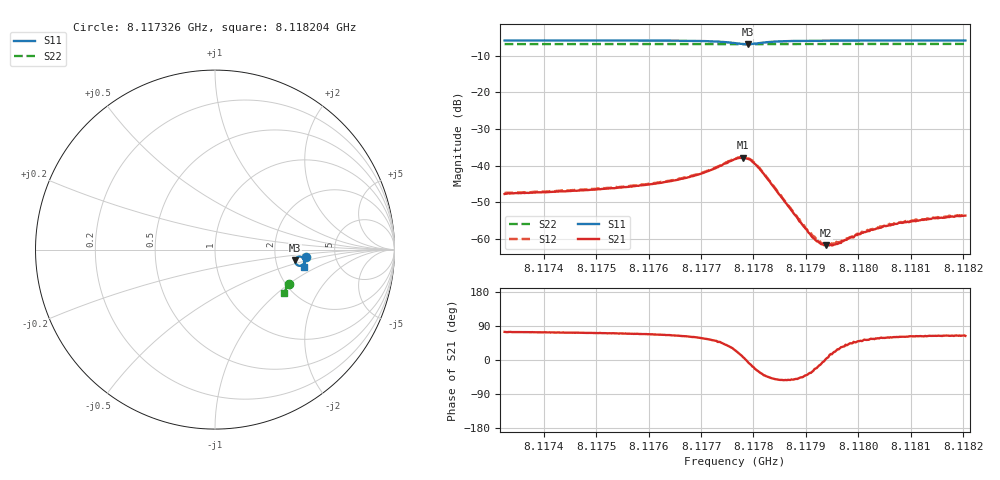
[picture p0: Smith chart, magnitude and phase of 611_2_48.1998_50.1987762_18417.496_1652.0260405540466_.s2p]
#  HZ  S  RI  R  50.00
! Rohde & Schwarz Vector Network Analyzer
! Rohde-Schwarz,ZNB20-2Port,1311601062101988,3.16
! Created: UTC 3/20/2024, 12:03:30 PM
! freq[Hz]  re:S11  im:S11  re:S21  im:S21  re:S12  im:S12  re:S22  im:S22
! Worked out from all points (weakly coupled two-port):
!   401 points, 8.117326 GHz to 8.118204 GHz, reference 50 ohm
!   highest |S21| = -37.80 dB at 8.11778 GHz (marker M1); lowest = -61.7 dB at 8.117938 GHz (marker M2)
!   lowest |S11| = -6.9 dB at 8.117789 GHz (marker M3), VSWR 2.64, Z = 129 - j19.3 ohm
!   |S11| at or under -10 dB: nowhere
!   |S22| runs from -6.9 to -6.8 dB; largest |S21 - S12| = 0.00047
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8.1173258e9  0.5053 -0.04  0.00112 0.00396  0.00123 0.00407  0.4103 -0.1899
8.1174729e9  0.5036 -0.0532  0.00144 0.00439  0.00147 0.00449  0.4063 -0.1995
8.1175563e9  0.5019 -0.0615  0.00175 0.0048  0.00183 0.00489  0.404 -0.2049
8.1176199e9  0.4994 -0.0691  0.00227 0.00534  0.00235 0.00548  0.4018 -0.209
8.1176594e9  0.4968 -0.0747  0.00289 0.00585  0.00299 0.006  0.4005 -0.2115
8.1176989e9  0.4915 -0.0819  0.00407 0.00657  0.0042 0.00669  0.3991 -0.2142
8.1177648e9  0.4581 -0.0863  0.0111 0.00537  0.0112 0.00549  0.3957 -0.2181
8.1177801e9  0.4473 -0.0716  0.0128 0.00165  0.0131 0.0018  0.3949 -0.2181
8.1177889e9  0.4468 -0.0597  0.0124 -0.000978  0.0125 -0.00107  0.3946 -0.218
8.1178021e9  0.456 -0.0446  0.00986 -0.00406  0.0102 -0.00417  0.3949 -0.2183
8.1178152e9  0.4694 -0.0392  0.00687 -0.00492  0.00699 -0.00502  0.3952 -0.2191
8.117903e9  0.4985 -0.0606  0.001 -0.000797  0.00103 -0.00082  0.3935 -0.2256
8.1179118e9  0.4988 -0.0623  0.000918 -0.000545  0.000979 -0.000566  0.3933 -0.226
8.117925e9  0.4993 -0.0646  0.00087 -0.000225  0.000914 -0.000261  0.3927 -0.227
8.1179382e9  0.4996 -0.0668  0.000819 4.2e-05  0.000802 4.3e-05  0.3926 -0.228
8.1179513e9  0.4997 -0.0688  0.000784 0.000266  0.000805 0.00024  0.3919 -0.2288
8.1179623e9  0.4998 -0.0704  0.000776 0.000414  0.000792 0.000454  0.3916 -0.2294
8.118004e9  0.4997 -0.0756  0.00075 0.000923  0.000766 0.000892  0.3902 -0.2321
8.1180369e9  0.4995 -0.0794  0.000754 0.00118  0.000766 0.00122  0.3892 -0.2342
8.1180589e9  0.4992 -0.0816  0.000801 0.00132  0.000807 0.00141  0.3885 -0.2357
8.1181137e9  0.4987 -0.0869  0.000817 0.00159  0.000832 0.00164  0.3865 -0.239
8.1182037e9  0.4972 -0.0949  0.000929 0.00188  0.000927 0.00192  0.3834 -0.2444
